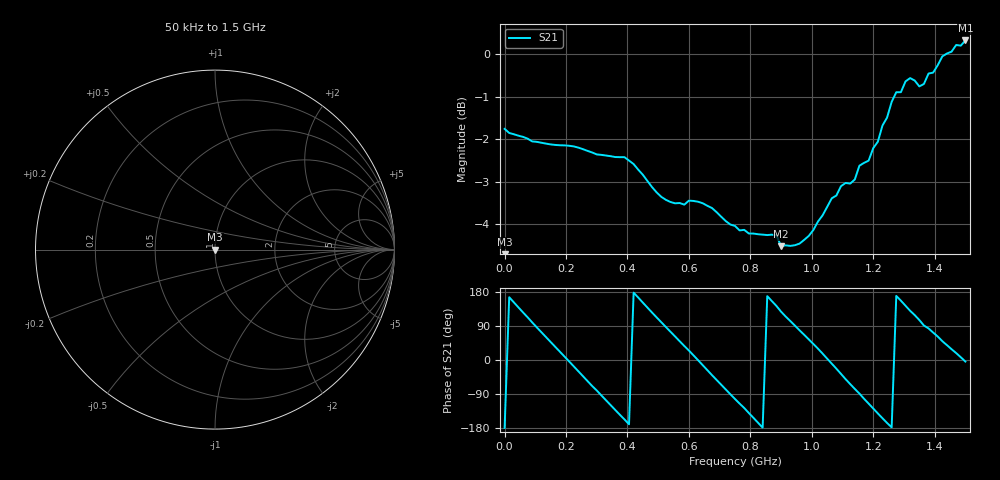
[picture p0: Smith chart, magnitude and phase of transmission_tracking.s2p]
! Created with skrf 1.8.0 (http://scikit-rf.org).
# Hz S RI R 50.0
!freq ReS11 ImS11 ReS21 ImS21 ReS12 ImS12 ReS22 ImS22
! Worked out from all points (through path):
!   101 points, 50 kHz to 1.5 GHz, reference 50 ohm
!   highest |S21| = 0.32 dB at 1.5 GHz (marker M1); lowest = -4.5 dB at 900 MHz (marker M2)
!   lowest |S11| = - dB at 50 kHz (marker M3), VSWR 1.00, Z = 50 + j0 ohm
!   |S11| at or under -10 dB: start of sweep to end of sweep
!   S12 and S22 are empty: the file has one direction only
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50000  0 0  -0.817 -0.0125  0 0  0 0
6.0048e7  0 0  -0.465 0.6505  0 0  0 0
1.050465e8  0 0  0.0559 0.7869  0 0  0 0
1.80044e8  0 0  0.7254 0.2911  0 0  0 0
2.550415e8  0 0  0.5688 -0.5241  0 0  0 0
3.30039e8  0 0  -0.2126 -0.73  0 0  0 0
4.050365e8  0 0  -0.7377 -0.1352  0 0  0 0
5.10033e8  0 0  -0.115 0.6702  0 0  0 0
5.70031e8  0 0  0.4347 0.5081  0 0  0 0
6.30029e8  0 0  0.6709 -0.00842  0 0  0 0
6.90027e8  0 0  0.3969 -0.5178  0 0  0 0
7.50025e8  0 0  -0.14 -0.6127  0 0  0 0
8.250225e8  0 0  -0.5952 -0.1531  0 0  0 0
9.0002e8  0 0  -0.3623 0.4721  0 0  0 0
1.005016e9  0 0  0.4591 0.419  0 0  0 0
1.080014e9  0 0  0.6285 -0.2658  0 0  0 0
1.155012e9  0 0  0.0175 -0.7395  0 0  0 0
1.260008e9  0 0  -0.8783 -0.0353  0 0  0 0
1.320006e9  0 0  -0.6018 0.7186  0 0  0 0
1.380004e9  0 0  0.1097 0.9426  0 0  0 0
1.440002e9  0 0  0.7772 0.632  0 0  0 0
1.5e9  0 0  1.035 -0.0742  0 0  0 0
